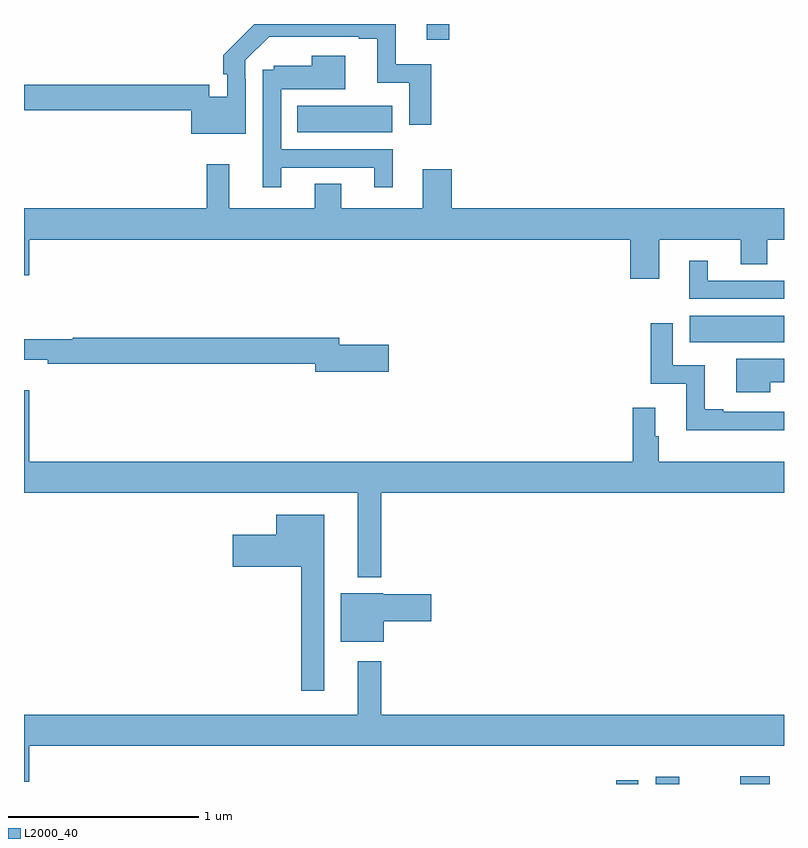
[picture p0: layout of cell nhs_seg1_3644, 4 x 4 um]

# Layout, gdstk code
import gdstk
lib = gdstk.Library(unit=1e-6, precision=1e-09)
def R(c, l, rs):  # rectangles x0, y0, x1, y1
    for r in rs: c.add(gdstk.rectangle(r[:2], r[2:], *l))
def P(c, l, *ps):  # polygons
    for p in ps: c.add(gdstk.Polygon(p, *l))
L2000_40 = (2000, 40)

nhs_seg1_3644 = lib.new_cell('nhs_seg1_3644')
R(nhs_seg1_3644, L2000_40, [(312.118,550.199,312.234,550.219), (312.326,550.199,312.448,550.237), (312.77,550.199,312.925,550.24), (312.504,552.524,313,552.664), (310.438,553.628,310.939,553.768), (311.12,554.115,311.237,554.199)])
P(nhs_seg1_3644, L2000_40, [(310.167,553.907),(310.164,553.907),(310.164,554.007),(310.29,554.133),(310.763,554.133),(310.763,554.121),(310.859,554.121),(310.859,553.89),(311.028,553.89),(311.028,553.668),(311.144,553.668),(311.144,553.986),(310.957,553.986),(310.957,554.199),(310.212,554.199),(310.049,554.035),(310.049,553.934),(310.071,553.934),(310.071,553.816),(309.975,553.816),(309.975,553.88),(309,553.88),(309,553.744),(309.879,553.744),(309.879,553.622),(310.167,553.622)],
  [(310.354,553.443),(310.844,553.443),(310.844,553.341),(310.942,553.341),(310.942,553.539),(310.353,553.539),(310.353,553.856),(310.69,553.856),(310.69,554.032),(310.514,554.032),(310.514,553.978),(310.314,553.978),(310.314,553.959),(310.257,553.959),(310.257,553.341),(310.354,553.341)],
  [(311.252,553.435),(311.099,553.435),(311.099,553.228),(310.669,553.228),(310.669,553.358),(310.529,553.358),(310.529,553.228),(310.079,553.228),(310.079,553.462),(309.961,553.462),(309.961,553.228),(309,553.228),(309,552.876),(309.028,552.876),(309.028,553.064),(312.191,553.064),(312.191,552.858),(312.343,552.858),(312.343,553.064),(312.773,553.064),(312.773,552.934),(312.913,552.934),(312.913,553.064),(313,553.064),(313,553.228),(311.252,553.228)],
  [(313,552.849),(312.598,552.849),(312.598,552.952),(312.5,552.952),(312.5,552.753),(313,552.753)],
  [(313,552.159),(312.679,552.159),(312.679,552.172),(312.583,552.172),(312.583,552.402),(312.414,552.402),(312.414,552.625),(312.298,552.625),(312.298,552.306),(312.485,552.306),(312.485,552.062),(312.997,552.062),(312.997,552.06),(313,552.06)],
  [(310.921,552.512),(310.66,552.512),(310.66,552.548),(309.256,552.548),(309.256,552.541),(309,552.541),(309,552.431),(309.124,552.431),(309.124,552.412),(310.532,552.412),(310.532,552.37),(310.921,552.37)],
  [(312.928,552.314),(313,552.314),(313,552.436),(312.749,552.436),(312.749,552.26),(312.928,552.26)],
  [(310.879,551.732),(313,551.732),(313,551.896),(312.341,551.896),(312.341,552.029),(312.322,552.029),(312.322,552.178),(312.205,552.178),(312.205,551.896),(309.028,551.896),(309.028,552.271),(309,552.271),(309,551.732),(310.757,551.732),(310.757,551.288),(310.879,551.288)],
  [(310.579,551.617),(310.328,551.617),(310.328,551.512),(310.098,551.512),(310.098,551.342),(310.458,551.342),(310.458,550.689),(310.579,550.689)],
  [(310.894,551.056),(311.143,551.056),(311.143,551.198),(310.89,551.198),(310.89,551.203),(310.667,551.203),(310.667,550.949),(310.894,550.949)],
  [(309.028,550.4),(313,550.4),(313,550.564),(310.879,550.564),(310.879,550.846),(310.757,550.846),(310.757,550.564),(309,550.564),(309,550.212),(309.028,550.212)])

lib.write_gds('nhs_seg1_3644.gds')
